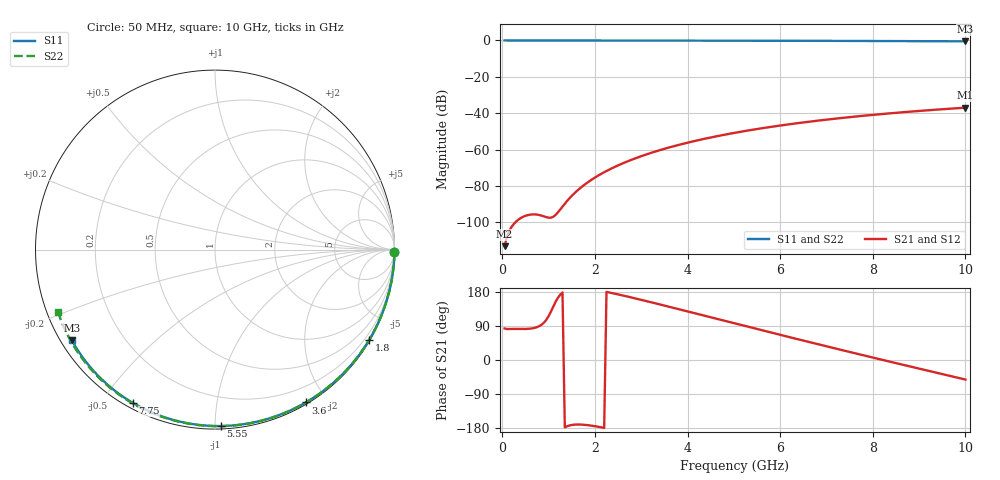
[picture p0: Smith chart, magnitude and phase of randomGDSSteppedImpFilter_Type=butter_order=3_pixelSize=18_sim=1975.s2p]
! freq	dB(S11)	phase(S11)	dB(S12)	phase(S12)
!  dB(S21)	phase(S21)	dB(S22)	phase(S22)
!S-par simulation data
#  GHz  S  DB  R 50
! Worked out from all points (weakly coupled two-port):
!   200 points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, 50 MHz to 10 GHz, reference 50 ohm
!   highest |S21| = -36.98 dB at 10 GHz (marker M1); lowest = -113.2 dB at 50 MHz (marker M2)
!   lowest |S11| = -0.5 dB at 10 GHz (marker M3), VSWR 34.80, Z = 1.56 - j14.4 ohm
!   |S11| at or under -10 dB: nowhere
!   |S22| runs from -0.5 to 0.0 dB; largest |S21 - S12| = 0
!   S11 on the Smith chart (normalised r, x): 50 MHz: open; 1.8 GHz: 0.03, -3.68; 3.6 GHz: 0.02, -1.76; 5.55 GHz: 0.02, -1.03; 7.75 GHz: 0.02, -0.60; 10 GHz: 0.03, -0.29
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0.05  -0.00 -0.9  -113.17 83.2  -113.17 83.2  -0.00 -0.9
0.45  -0.01 -7.7  -96.99 81.8  -96.99 81.8  -0.01 -8.3
0.85  -0.02 -14.5  -96.37 93.3  -96.37 93.3  -0.02 -15.6
1.3  -0.03 -22.1  -91.38 178.0  -91.38 178.0  -0.03 -23.7
1.75  -0.04 -29.6  -79.84 -170.8  -79.84 -170.8  -0.04 -31.8
1.8  -0.04 -30.4  -78.88 -171.3  -78.88 -171.3  -0.04 -32.7
1.95  -0.04 -32.9  -76.24 -173.7  -76.24 -173.7  -0.05 -35.3
2.1  -0.05 -35.3  -73.90 -176.8  -73.90 -176.8  -0.05 -37.9
2.3  -0.05 -38.6  -71.15 178.4  -71.15 178.4  -0.05 -41.4
2.5  -0.05 -41.8  -68.73 173.1  -68.73 173.1  -0.06 -44.9
2.9  -0.06 -48.2  -64.58 161.7  -64.58 161.7  -0.07 -51.8
3.4  -0.07 -56.1  -60.36 146.7  -60.36 146.7  -0.08 -60.2
3.6  -0.08 -59.2  -58.89 140.6  -58.89 140.6  -0.09 -63.5
4.3  -0.10 -69.9  -54.47 118.9  -54.47 118.9  -0.11 -74.9
5.05  -0.12 -81.0  -50.67 95.7  -50.67 95.7  -0.13 -86.7
5.55  -0.14 -88.2  -48.52 80.2  -48.52 80.2  -0.15 -94.3
6.1  -0.17 -95.9  -46.45 63.4  -46.45 63.4  -0.18 -102.5
6.7  -0.20 -104.2  -44.46 45.2  -44.46 45.2  -0.22 -111.3
7.75  -0.27 -118.3  -41.55 13.8  -41.55 13.8  -0.29 -126.4
8.35  -0.32 -126.2  -40.13 -3.9  -40.13 -3.9  -0.34 -134.8
9.2  -0.41 -137.3  -38.39 -28.5  -38.39 -28.5  -0.43 -146.8
10  -0.50 -147.8  -36.98 -51.5  -36.98 -51.5  -0.53 -158.3
